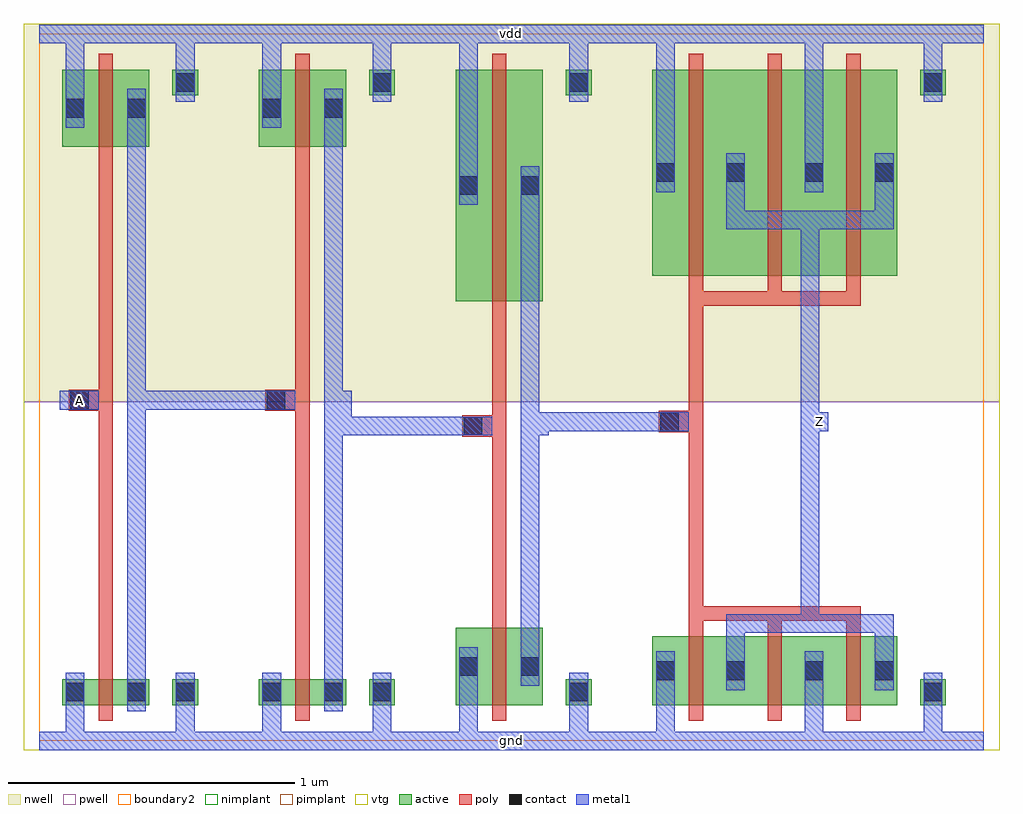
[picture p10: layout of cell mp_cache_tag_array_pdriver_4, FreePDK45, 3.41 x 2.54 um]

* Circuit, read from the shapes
.subckt mp_cache_tag_array_pdriver_4 A Z gnd vdd
M1 mp_cache_tag_array_pinv_6_1/A A gnd gnd nfet w=0.09u l=0.05u
M2 mp_cache_tag_array_pinv_15_2/A mp_cache_tag_array_pinv_6_1/A gnd gnd nfet w=0.09u l=0.05u
M3 mp_cache_tag_array_pinv_16_3/A mp_cache_tag_array_pinv_15_2/A gnd gnd nfet w=0.27u l=0.05u
M4 Z mp_cache_tag_array_pinv_16_3/A gnd gnd nfet w=0.24u l=0.05u m=3
M5 mp_cache_tag_array_pinv_6_1/A A vdd vdd pfet w=0.27u l=0.05u
M6 mp_cache_tag_array_pinv_15_2/A mp_cache_tag_array_pinv_6_1/A vdd vdd pfet w=0.27u l=0.05u
M7 mp_cache_tag_array_pinv_16_3/A mp_cache_tag_array_pinv_15_2/A vdd vdd pfet w=0.81u l=0.05u
M8 Z mp_cache_tag_array_pinv_16_3/A vdd vdd pfet w=0.72u l=0.05u m=3
.ends

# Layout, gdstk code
import gdstk
lib = gdstk.Library(unit=1e-6, precision=5e-10)
def R(c, l, rs):  # rectangles x0, y0, x1, y1
    for r in rs: c.add(gdstk.rectangle(r[:2], r[2:], *l))
def A(c, l, x, y, w, h, nx, ny, dx, dy):  # array of equal rectangles
    R(c, l, [(x+i*dx, y+j*dy, x+i*dx+w, y+j*dy+h) for i in range(nx) for j in range(ny)])
active = (1, 0)
pwell = (2, 0)
nwell = (3, 0)
nimplant = (4, 0)
pimplant = (5, 0)
vtg = (6, 0)
poly = (9, 0)
contact = (10, 0)
metal1 = (11, 0)
boundary2 = (239, 0)

mp_cache_tag_array_conta = lib.new_cell('mp_cache_tag_array_contact_11')
R(mp_cache_tag_array_conta, active, [(0,0.0225,0.09,0.1125)])
R(mp_cache_tag_array_conta, nwell, [(-0.055,-0.0325,0.145,0.1675)])
R(mp_cache_tag_array_conta, pimplant, [(0,0.0225,0.09,0.1125)])
R(mp_cache_tag_array_conta, contact, [(0.0125,0.035,0.0775,0.1)])
R(mp_cache_tag_array_conta, metal1, [(0.0125,0,0.0775,0.135)])
R(mp_cache_tag_array_conta, boundary2, [(-0.055,-0.0325,0.145,0.1675)])

mp_cache_tag_array_pmos_ = lib.new_cell('mp_cache_tag_array_pmos_m1_w0_270_sm1_dm1_da_p')
R(mp_cache_tag_array_pmos_, active, [(0,0,0.305,0.27)])
R(mp_cache_tag_array_pmos_, nwell, [(-0.08,-0.08,0.385,0.35)])
R(mp_cache_tag_array_pmos_, pimplant, [(0,0,0.305,0.27)])
R(mp_cache_tag_array_pmos_, vtg, [(-0.08,-0.08,0.385,0.35)])
R(mp_cache_tag_array_pmos_, poly, [(0.1275,-0.055,0.1775,0.325), (0.1275,-0.055,0.1775,0.325)])
R(mp_cache_tag_array_pmos_, metal1, [(0.0125,0.0675,0.0775,0.2025), (0.2275,0.0675,0.2925,0.2025)])
R(mp_cache_tag_array_pmos_, boundary2, [(-0.08,-0.08,0.385,0.35)])
mp_cache_tag_array_pmos_.add(gdstk.Reference(mp_cache_tag_array_conta, (0,0.0675)))
mp_cache_tag_array_pmos_.add(gdstk.Reference(mp_cache_tag_array_conta, (0.215,0.0675)))
mp_cache_tag_array_pmos_.add(gdstk.Label('G', (0.1525,0.135), layer=9, texttype=0))
mp_cache_tag_array_pmos_.add(gdstk.Label('S', (0.045,0.135), layer=11, texttype=0))
mp_cache_tag_array_pmos_.add(gdstk.Label('D', (0.26,0.135), layer=11, texttype=0))

c_mp_cache_tag_array_conta = lib.new_cell('mp_cache_tag_array_contact_10')
R(c_mp_cache_tag_array_conta, active, [(0,0.0225,0.09,0.1125)])
R(c_mp_cache_tag_array_conta, pwell, [(-0.055,-0.0325,0.145,0.1675)])
R(c_mp_cache_tag_array_conta, nimplant, [(0,0.0225,0.09,0.1125)])
R(c_mp_cache_tag_array_conta, contact, [(0.0125,0.035,0.0775,0.1)])
R(c_mp_cache_tag_array_conta, metal1, [(0.0125,0,0.0775,0.135)])
R(c_mp_cache_tag_array_conta, boundary2, [(-0.055,-0.0325,0.145,0.1675)])

mp_cache_tag_array_nmos_ = lib.new_cell('mp_cache_tag_array_nmos_m1_w0_090_sm1_dm1_da_p')
R(mp_cache_tag_array_nmos_, active, [(0,0,0.305,0.09)])
R(mp_cache_tag_array_nmos_, pwell, [(-0.08,-0.08,0.385,0.17)])
R(mp_cache_tag_array_nmos_, nimplant, [(0,0,0.305,0.09)])
R(mp_cache_tag_array_nmos_, vtg, [(-0.08,-0.08,0.385,0.17)])
R(mp_cache_tag_array_nmos_, poly, [(0.1275,-0.055,0.1775,0.145), (0.1275,-0.055,0.1775,0.145)])
R(mp_cache_tag_array_nmos_, metal1, [(0.0125,-0.0225,0.0775,0.1125), (0.2275,-0.0225,0.2925,0.1125)])
R(mp_cache_tag_array_nmos_, boundary2, [(-0.08,-0.08,0.385,0.17)])
mp_cache_tag_array_nmos_.add(gdstk.Reference(c_mp_cache_tag_array_conta, (0,-0.0225)))
mp_cache_tag_array_nmos_.add(gdstk.Reference(c_mp_cache_tag_array_conta, (0.215,-0.0225)))
mp_cache_tag_array_nmos_.add(gdstk.Label('G', (0.1525,0.045), layer=9, texttype=0))
mp_cache_tag_array_nmos_.add(gdstk.Label('S', (0.045,0.045), layer=11, texttype=0))
mp_cache_tag_array_nmos_.add(gdstk.Label('D', (0.26,0.045), layer=11, texttype=0))

c_mp_cache_tag_array_conta_ = lib.new_cell('mp_cache_tag_array_contact_12')
R(c_mp_cache_tag_array_conta_, active, [(0,0.0225,0.09,0.1125)])
R(c_mp_cache_tag_array_conta_, nwell, [(-0.055,-0.0325,0.145,0.1675)])
R(c_mp_cache_tag_array_conta_, nimplant, [(0,0.0225,0.09,0.1125)])
R(c_mp_cache_tag_array_conta_, contact, [(0.0125,0.035,0.0775,0.1)])
R(c_mp_cache_tag_array_conta_, metal1, [(0.0125,0,0.0775,0.135)])
R(c_mp_cache_tag_array_conta_, boundary2, [(-0.055,-0.0325,0.145,0.1675)])

c_mp_cache_tag_array_conta__ = lib.new_cell('mp_cache_tag_array_contact_13')
R(c_mp_cache_tag_array_conta__, active, [(0,0.0225,0.09,0.1125)])
R(c_mp_cache_tag_array_conta__, pwell, [(-0.055,-0.0325,0.145,0.1675)])
R(c_mp_cache_tag_array_conta__, pimplant, [(0,0.0225,0.09,0.1125)])
R(c_mp_cache_tag_array_conta__, contact, [(0.0125,0.035,0.0775,0.1)])
R(c_mp_cache_tag_array_conta__, metal1, [(0.0125,0,0.0775,0.135)])
R(c_mp_cache_tag_array_conta__, boundary2, [(-0.055,-0.0325,0.145,0.1675)])

c_mp_cache_tag_array_conta___ = lib.new_cell('mp_cache_tag_array_contact_14')
R(c_mp_cache_tag_array_conta___, poly, [(0.03,0,0.105,0.075)])
R(c_mp_cache_tag_array_conta___, contact, [(0.035,0.005,0.1,0.07)])
R(c_mp_cache_tag_array_conta___, metal1, [(0,0.005,0.135,0.07)])
R(c_mp_cache_tag_array_conta___, boundary2, [(0,0,0.135,0.075)])

mp_cache_tag_array_pinv_ = lib.new_cell('mp_cache_tag_array_pinv_6')
R(mp_cache_tag_array_pinv_, pwell, [(-0.055,-0.0325,0.7425,1.185)])
R(mp_cache_tag_array_pinv_, nwell, [(-0.055,1.185,0.7425,2.505)])
R(mp_cache_tag_array_pinv_, vtg, [(-0.055,-0.0325,0.7425,1.185), (-0.055,1.185,0.7425,2.505)])
R(mp_cache_tag_array_pinv_, poly, [(0.2075,0.27,0.2575,2.02), (0.14,1.1525,0.2075,1.2275)])
R(mp_cache_tag_array_pinv_, metal1, [(0,-0.0325,0.6875,0.0325), (0.0925,-0.0325,0.1575,0.1025), (0.4775,0,0.5425,0.17), (0.3075,0.1025,0.3725,2.2775), (0.0725,1.1575,0.2075,1.2225), (0.34,1.1575,0.405,1.2225), (0.0925,2.1425,0.1575,2.5025), (0.4775,2.3,0.5425,2.47), (0,2.4375,0.6875,2.5025)])
R(mp_cache_tag_array_pinv_, boundary2, [(0,0,0.6875,2.47), (0,0,0.6875,2.47)])
mp_cache_tag_array_pinv_.add(gdstk.Reference(mp_cache_tag_array_pmos_, (0.08,2.075)))
mp_cache_tag_array_pinv_.add(gdstk.Reference(mp_cache_tag_array_nmos_, (0.08,0.125)))
mp_cache_tag_array_pinv_.add(gdstk.Reference(c_mp_cache_tag_array_conta_, (0.465,2.2325)))
mp_cache_tag_array_pinv_.add(gdstk.Reference(c_mp_cache_tag_array_conta__, (0.465,0.1025)))
mp_cache_tag_array_pinv_.add(gdstk.Reference(c_mp_cache_tag_array_conta___, (0.0725,1.1525)))
mp_cache_tag_array_pinv_.add(gdstk.Label('A', (0.14,1.19), layer=11, texttype=0))
mp_cache_tag_array_pinv_.add(gdstk.Label('Z', (0.3725,1.19), layer=11, texttype=0))
mp_cache_tag_array_pinv_.add(gdstk.Label('gnd', (0.344,0), layer=11, texttype=0))
mp_cache_tag_array_pinv_.add(gdstk.Label('vdd', (0.344,2.47), layer=11, texttype=0))

c_mp_cache_tag_array_pmos_ = lib.new_cell('mp_cache_tag_array_pmos_m1_w0_810_sm1_dm1_da_p')
R(c_mp_cache_tag_array_pmos_, active, [(0,0,0.305,0.81)])
R(c_mp_cache_tag_array_pmos_, nwell, [(-0.08,-0.08,0.385,0.89)])
R(c_mp_cache_tag_array_pmos_, pimplant, [(0,0,0.305,0.81)])
R(c_mp_cache_tag_array_pmos_, vtg, [(-0.08,-0.08,0.385,0.89)])
R(c_mp_cache_tag_array_pmos_, poly, [(0.1275,-0.055,0.1775,0.865), (0.1275,-0.055,0.1775,0.865)])
R(c_mp_cache_tag_array_pmos_, metal1, [(0.0125,0.3375,0.0775,0.4725), (0.2275,0.3375,0.2925,0.4725)])
R(c_mp_cache_tag_array_pmos_, boundary2, [(-0.08,-0.08,0.385,0.89)])
c_mp_cache_tag_array_pmos_.add(gdstk.Reference(mp_cache_tag_array_conta, (0,0.3375)))
c_mp_cache_tag_array_pmos_.add(gdstk.Reference(mp_cache_tag_array_conta, (0.215,0.3375)))
c_mp_cache_tag_array_pmos_.add(gdstk.Label('G', (0.1525,0.405), layer=9, texttype=0))
c_mp_cache_tag_array_pmos_.add(gdstk.Label('S', (0.045,0.405), layer=11, texttype=0))
c_mp_cache_tag_array_pmos_.add(gdstk.Label('D', (0.26,0.405), layer=11, texttype=0))

c_mp_cache_tag_array_nmos_ = lib.new_cell('mp_cache_tag_array_nmos_m1_w0_270_sm1_dm1_da_p')
R(c_mp_cache_tag_array_nmos_, active, [(0,0,0.305,0.27)])
R(c_mp_cache_tag_array_nmos_, pwell, [(-0.08,-0.08,0.385,0.35)])
R(c_mp_cache_tag_array_nmos_, nimplant, [(0,0,0.305,0.27)])
R(c_mp_cache_tag_array_nmos_, vtg, [(-0.08,-0.08,0.385,0.35)])
R(c_mp_cache_tag_array_nmos_, poly, [(0.1275,-0.055,0.1775,0.325), (0.1275,-0.055,0.1775,0.325)])
R(c_mp_cache_tag_array_nmos_, metal1, [(0.0125,0.0675,0.0775,0.2025), (0.2275,0.0675,0.2925,0.2025)])
R(c_mp_cache_tag_array_nmos_, boundary2, [(-0.08,-0.08,0.385,0.35)])
c_mp_cache_tag_array_nmos_.add(gdstk.Reference(c_mp_cache_tag_array_conta, (0,0.0675)))
c_mp_cache_tag_array_nmos_.add(gdstk.Reference(c_mp_cache_tag_array_conta, (0.215,0.0675)))
c_mp_cache_tag_array_nmos_.add(gdstk.Label('G', (0.1525,0.135), layer=9, texttype=0))
c_mp_cache_tag_array_nmos_.add(gdstk.Label('S', (0.045,0.135), layer=11, texttype=0))
c_mp_cache_tag_array_nmos_.add(gdstk.Label('D', (0.26,0.135), layer=11, texttype=0))

c_mp_cache_tag_array_pinv_ = lib.new_cell('mp_cache_tag_array_pinv_15')
R(c_mp_cache_tag_array_pinv_, pwell, [(-0.055,-0.0325,0.7425,1.185)])
R(c_mp_cache_tag_array_pinv_, nwell, [(-0.055,1.185,0.7425,2.505)])
R(c_mp_cache_tag_array_pinv_, vtg, [(-0.055,-0.0325,0.7425,1.185), (-0.055,1.185,0.7425,2.505)])
R(c_mp_cache_tag_array_pinv_, poly, [(0.2075,0.45,0.2575,1.48), (0.14,1.0625,0.2075,1.1375)])
R(c_mp_cache_tag_array_pinv_, metal1, [(0,-0.0325,0.6875,0.0325), (0.0925,-0.0325,0.1575,0.1925), (0.4775,0,0.5425,0.17), (0.3075,0.1925,0.3725,2.0075), (0.0725,1.0675,0.2075,1.1325), (0.34,1.0675,0.405,1.1325), (0.0925,1.8725,0.1575,2.5025), (0.4775,2.3,0.5425,2.47), (0,2.4375,0.6875,2.5025)])
R(c_mp_cache_tag_array_pinv_, boundary2, [(0,0,0.6875,2.47), (0,0,0.6875,2.47)])
c_mp_cache_tag_array_pinv_.add(gdstk.Reference(c_mp_cache_tag_array_pmos_, (0.08,1.535)))
c_mp_cache_tag_array_pinv_.add(gdstk.Reference(c_mp_cache_tag_array_nmos_, (0.08,0.125)))
c_mp_cache_tag_array_pinv_.add(gdstk.Reference(c_mp_cache_tag_array_conta_, (0.465,2.2325)))
c_mp_cache_tag_array_pinv_.add(gdstk.Reference(c_mp_cache_tag_array_conta__, (0.465,0.1025)))
c_mp_cache_tag_array_pinv_.add(gdstk.Reference(c_mp_cache_tag_array_conta___, (0.0725,1.0625)))
c_mp_cache_tag_array_pinv_.add(gdstk.Label('A', (0.14,1.1), layer=11, texttype=0))
c_mp_cache_tag_array_pinv_.add(gdstk.Label('Z', (0.3725,1.1), layer=11, texttype=0))
c_mp_cache_tag_array_pinv_.add(gdstk.Label('gnd', (0.344,0), layer=11, texttype=0))
c_mp_cache_tag_array_pinv_.add(gdstk.Label('vdd', (0.344,2.47), layer=11, texttype=0))

c_mp_cache_tag_array_pmos__ = lib.new_cell('mp_cache_tag_array_pmos_m3_w0_720_sm1_dm1_da_p')
R(c_mp_cache_tag_array_pmos__, active, [(0,0,0.855,0.72)])
R(c_mp_cache_tag_array_pmos__, nwell, [(-0.08,-0.08,0.935,0.8)])
R(c_mp_cache_tag_array_pmos__, pimplant, [(0,0,0.855,0.72)])
R(c_mp_cache_tag_array_pmos__, vtg, [(-0.08,-0.08,0.935,0.8)])
A(c_mp_cache_tag_array_pmos__, poly, 0.1275, -0.055, 0.05, 0.83, 3, 1, 0.275, 0)
R(c_mp_cache_tag_array_pmos__, poly, [(0.1275,-0.105,0.7275,-0.055)])
R(c_mp_cache_tag_array_pmos__, metal1, [(0.2575,0.1625,0.8425,0.2275), (0.2575,0.195,0.3225,0.36), (0.7775,0.195,0.8425,0.36), (0.0125,0.2925,0.0775,0.4275), (0.5325,0.2925,0.5975,0.4275)])
R(c_mp_cache_tag_array_pmos__, boundary2, [(-0.08,-0.105,0.935,0.8)])
c_mp_cache_tag_array_pmos__.add(gdstk.Reference(mp_cache_tag_array_conta, (0,0.2925)))
c_mp_cache_tag_array_pmos__.add(gdstk.Reference(mp_cache_tag_array_conta, (0.245,0.2925)))
c_mp_cache_tag_array_pmos__.add(gdstk.Reference(mp_cache_tag_array_conta, (0.52,0.2925)))
c_mp_cache_tag_array_pmos__.add(gdstk.Reference(mp_cache_tag_array_conta, (0.765,0.2925)))
c_mp_cache_tag_array_pmos__.add(gdstk.Label('G', (0.4275,-0.08), layer=9, texttype=0))
c_mp_cache_tag_array_pmos__.add(gdstk.Label('S', (0.045,0.36), layer=11, texttype=0))
c_mp_cache_tag_array_pmos__.add(gdstk.Label('S', (0.565,0.36), layer=11, texttype=0))
c_mp_cache_tag_array_pmos__.add(gdstk.Label('D', (0.55,0.195), layer=11, texttype=0))

c_mp_cache_tag_array_nmos__ = lib.new_cell('mp_cache_tag_array_nmos_m3_w0_240_sm1_dm1_da_p')
R(c_mp_cache_tag_array_nmos__, active, [(0,0,0.855,0.24)])
R(c_mp_cache_tag_array_nmos__, pwell, [(-0.08,-0.08,0.935,0.32)])
R(c_mp_cache_tag_array_nmos__, nimplant, [(0,0,0.855,0.24)])
R(c_mp_cache_tag_array_nmos__, vtg, [(-0.08,-0.08,0.935,0.32)])
A(c_mp_cache_tag_array_nmos__, poly, 0.1275, -0.055, 0.05, 0.35, 3, 1, 0.275, 0)
R(c_mp_cache_tag_array_nmos__, poly, [(0.1275,0.295,0.7275,0.345)])
R(c_mp_cache_tag_array_nmos__, metal1, [(0.0125,0.0525,0.0775,0.1875), (0.5325,0.0525,0.5975,0.1875), (0.2575,0.12,0.3225,0.285), (0.7775,0.12,0.8425,0.285), (0.2575,0.2525,0.8425,0.3175)])
R(c_mp_cache_tag_array_nmos__, boundary2, [(-0.08,-0.08,0.935,0.345)])
c_mp_cache_tag_array_nmos__.add(gdstk.Reference(c_mp_cache_tag_array_conta, (0,0.0525)))
c_mp_cache_tag_array_nmos__.add(gdstk.Reference(c_mp_cache_tag_array_conta, (0.245,0.0525)))
c_mp_cache_tag_array_nmos__.add(gdstk.Reference(c_mp_cache_tag_array_conta, (0.52,0.0525)))
c_mp_cache_tag_array_nmos__.add(gdstk.Reference(c_mp_cache_tag_array_conta, (0.765,0.0525)))
c_mp_cache_tag_array_nmos__.add(gdstk.Label('G', (0.4275,0.32), layer=9, texttype=0))
c_mp_cache_tag_array_nmos__.add(gdstk.Label('S', (0.565,0.12), layer=11, texttype=0))
c_mp_cache_tag_array_nmos__.add(gdstk.Label('S', (0.045,0.12), layer=11, texttype=0))
c_mp_cache_tag_array_nmos__.add(gdstk.Label('D', (0.55,0.285), layer=11, texttype=0))

c_mp_cache_tag_array_pinv__ = lib.new_cell('mp_cache_tag_array_pinv_16')
R(c_mp_cache_tag_array_pinv__, pwell, [(-0.055,-0.0325,1.2925,1.185)])
R(c_mp_cache_tag_array_pinv__, nwell, [(-0.055,1.185,1.2925,2.505)])
R(c_mp_cache_tag_array_pinv__, vtg, [(-0.055,-0.0325,1.2925,1.185), (-0.055,1.185,1.2925,2.505)])
R(c_mp_cache_tag_array_pinv__, poly, [(0.2075,0.47,0.2575,1.52), (0.14,1.0775,0.2075,1.1525)])
R(c_mp_cache_tag_array_pinv__, metal1, [(0,-0.0325,1.2375,0.0325), (0.0925,-0.0325,0.1575,0.1775), (0.6125,-0.0325,0.6775,0.1775), (1.0275,0,1.0925,0.17), (0.5975,0.3775,0.6625,1.8525), (0.0725,1.0825,0.2075,1.1475), (0.63,1.0825,0.695,1.1475), (0.0925,1.9175,0.1575,2.5025), (0.6125,1.9175,0.6775,2.5025), (1.0275,2.3,1.0925,2.47), (0,2.4375,1.2375,2.5025)])
R(c_mp_cache_tag_array_pinv__, boundary2, [(0,0,1.2375,2.47), (0,0,1.2375,2.47)])
c_mp_cache_tag_array_pinv__.add(gdstk.Reference(c_mp_cache_tag_array_pmos__, (0.08,1.625)))
c_mp_cache_tag_array_pinv__.add(gdstk.Reference(c_mp_cache_tag_array_nmos__, (0.08,0.125)))
c_mp_cache_tag_array_pinv__.add(gdstk.Reference(c_mp_cache_tag_array_conta_, (1.015,2.2325)))
c_mp_cache_tag_array_pinv__.add(gdstk.Reference(c_mp_cache_tag_array_conta__, (1.015,0.1025)))
c_mp_cache_tag_array_pinv__.add(gdstk.Reference(c_mp_cache_tag_array_conta___, (0.0725,1.0775)))
c_mp_cache_tag_array_pinv__.add(gdstk.Label('A', (0.14,1.115), layer=11, texttype=0))
c_mp_cache_tag_array_pinv__.add(gdstk.Label('Z', (0.6625,1.115), layer=11, texttype=0))
c_mp_cache_tag_array_pinv__.add(gdstk.Label('gnd', (0.619,0), layer=11, texttype=0))
c_mp_cache_tag_array_pinv__.add(gdstk.Label('vdd', (0.619,2.47), layer=11, texttype=0))

mp_cache_tag_array_pdriv = lib.new_cell('mp_cache_tag_array_pdriver_4')
R(mp_cache_tag_array_pdriv, pwell, [(-0.055,-0.0325,3.355,1.185)])
R(mp_cache_tag_array_pdriv, nwell, [(-0.055,1.185,3.355,2.505)])
R(mp_cache_tag_array_pdriv, vtg, [(-0.055,-0.0325,3.355,1.185), (-0.055,1.185,3.355,2.505)])
R(mp_cache_tag_array_pdriv, metal1, [(0,-0.0325,3.3,0.0325), (1.0275,1.0675,1.0925,1.1325), (1.06,1.0675,1.515,1.1325), (1.715,1.0825,1.78,1.1475), (1.7475,1.0825,2.2025,1.1475), (2.6925,1.0825,2.7575,1.1475), (1.0275,1.1,1.0925,1.19), (1.715,1.1,1.78,1.115), (0.0725,1.1575,0.2075,1.2225), (0.3725,1.1575,0.8275,1.2225), (0,2.4375,3.3,2.5025)])
R(mp_cache_tag_array_pdriv, boundary2, [(0,0,3.3,2.47), (0,0,3.3,2.47)])
mp_cache_tag_array_pdriv.add(gdstk.Reference(mp_cache_tag_array_pinv_, (0,0)))
mp_cache_tag_array_pdriv.add(gdstk.Reference(mp_cache_tag_array_pinv_, (0.6875,0)))
mp_cache_tag_array_pdriv.add(gdstk.Reference(c_mp_cache_tag_array_pinv_, (1.375,0)))
mp_cache_tag_array_pdriv.add(gdstk.Reference(c_mp_cache_tag_array_pinv__, (2.0625,0)))
mp_cache_tag_array_pdriv.add(gdstk.Label('Z', (2.725,1.115), layer=11, texttype=0))
mp_cache_tag_array_pdriv.add(gdstk.Label('A', (0.14,1.19), layer=11, texttype=0))
mp_cache_tag_array_pdriv.add(gdstk.Label('gnd', (1.65,0), layer=11, texttype=0))
mp_cache_tag_array_pdriv.add(gdstk.Label('vdd', (1.65,2.47), layer=11, texttype=0))

lib.write_gds('mp_cache_tag_array_pdriver_4.gds')
